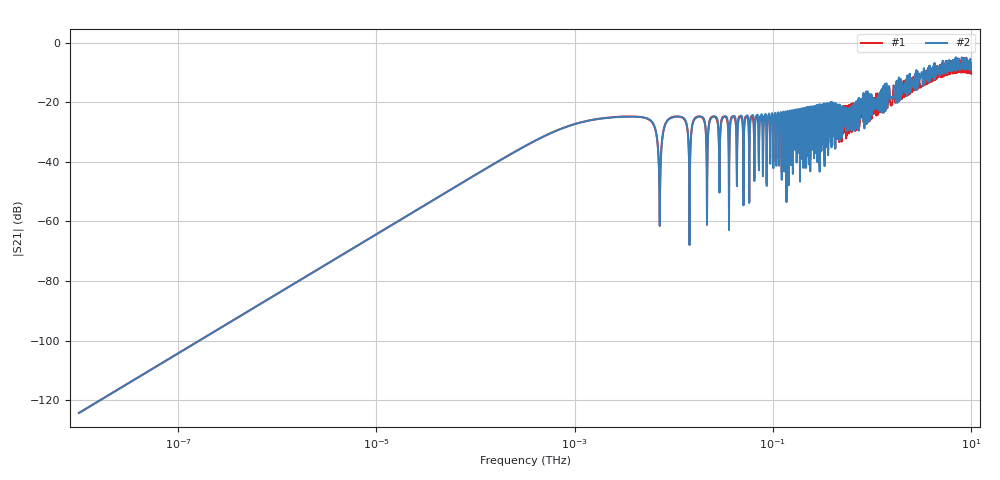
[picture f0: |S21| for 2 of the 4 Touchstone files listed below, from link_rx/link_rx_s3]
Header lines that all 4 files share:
! NPort=2 DATA=4501 NOISE=0 GROUPDELAY=0 COMPLEX_DATAFORMAT=RI
! NumOfBlock=1 NumOfParam=0
!  -- The above .MODEL line can be used for the S element in the netlist.
# Hz S RI R  50
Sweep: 10 kHz to 10 THz
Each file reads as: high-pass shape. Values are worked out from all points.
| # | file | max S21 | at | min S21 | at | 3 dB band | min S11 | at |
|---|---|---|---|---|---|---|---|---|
| 1 | lr10000_10000000000000dec_0_3.s2p | -5.13 dB | 8.279 THz | -124.3 dB | 10 kHz | 6.194 THz-6.397 THz | -34.5 dB | 8.511 THz |
| 2 | lr10000_10000000000000dec_2_1.s2p | -4.89 dB | 8.054 THz | -124.3 dB | 10 kHz | 9.162 THz-9.419 THz | -37.3 dB | 5.2 THz |
| 3 | lr10000_10000000000000dec_2_5.s2p | -4.89 dB | 8.054 THz | -124.3 dB | 10 kHz | 9.162 THz-9.419 THz | -37.3 dB | 5.2 THz |
| 4 | lr10000_10000000000000dec_4_3.s2p | -5.13 dB | 8.279 THz | -124.3 dB | 10 kHz | 6.194 THz-6.397 THz | -34.5 dB | 8.511 THz |
